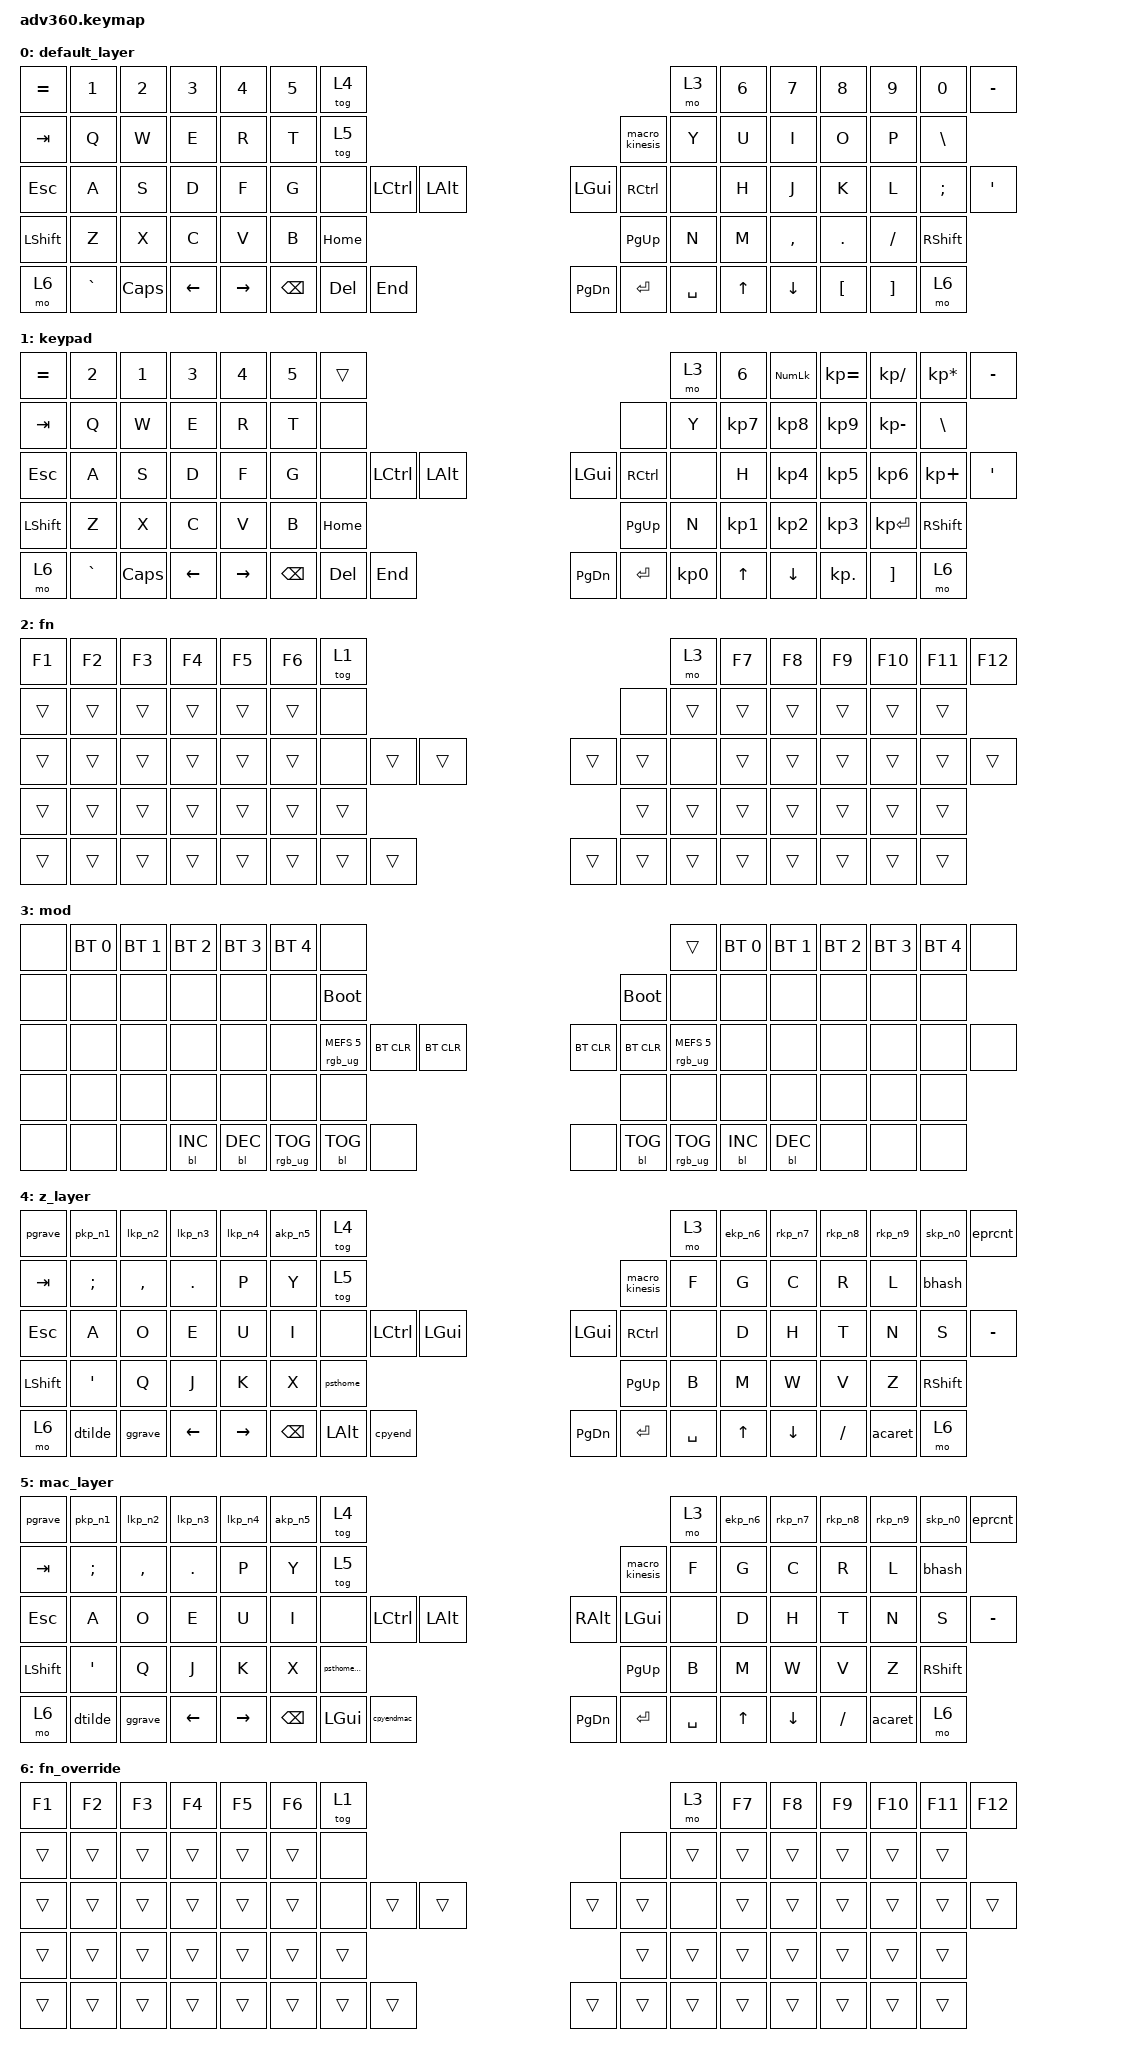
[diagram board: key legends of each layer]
#include <behaviors.dtsi>
#include <dt-bindings/zmk/keys.h>
#include <dt-bindings/zmk/bt.h>
#include <dt-bindings/zmk/rgb.h>
#include <dt-bindings/zmk/stp.h>
#include <dt-bindings/zmk/backlight.h>
#include <dt-bindings/zmk/pointing.h>
#define FN 6

/ {

    behaviors {
      #include "macros.dtsi"

      hm: homerow_mods {
          compatible = "zmk,behavior-hold-tap";
          label = "HOMEROW_MODS";
          #binding-cells = <2>;
          tapping-term-ms = <200>;
          quick_tap_ms = <175>;
          flavor = "tap-preferred";
          bindings = <&kp>, <&kp>;
      };

    gpipe: grave_pipe {
        compatible = "zmk,behavior-mod-morph";
        label = "grave_pipe";
        #binding-cells = <0>;
        bindings = <&kp GRAVE>, <&kp PIPE>;
        mods = <(MOD_LGUI|MOD_LSFT|MOD_RGUI|MOD_RSFT)>;
    };
    pgrave: pipe_grave {
        compatible = "zmk,behavior-mod-morph";
        label = "pipe_grave";
        #binding-cells = <0>;
        bindings = <&kp PIPE>, <&kp GRAVE>;
        mods = <(MOD_LGUI|MOD_LSFT|MOD_RGUI|MOD_RSFT)>;
    };
    dtilde: dllr_tilde {
        compatible = "zmk,behavior-mod-morph";
        label = "dllr_tilde";
        #binding-cells = <0>;
        bindings = <&kp DLLR>, <&kp TILDE>;
        mods = <(MOD_LGUI|MOD_LSFT|MOD_RGUI|MOD_RSFT)>;
    };
    pkp_n1: plus_n1 {
        compatible = "zmk,behavior-mod-morph";
        label = "plus_n1";
        #binding-cells = <0>;
        bindings = <&kp PLUS>, <&kp N1>;
        mods = <(MOD_LGUI|MOD_LSFT|MOD_RGUI|MOD_RSFT)>;
    };
    lkp_n2: left_bracket_n2 {
        compatible = "zmk,behavior-mod-morph";
        label = "left_bracket_n2";
        #binding-cells = <0>;
        bindings = <&kp LEFT_BRACKET>, <&kp N2>;
        mods = <(MOD_LGUI|MOD_LSFT|MOD_RGUI|MOD_RSFT)>;
    };
    lkp_n3: left_brace_n3 {
        compatible = "zmk,behavior-mod-morph";
        label = "left_brace_n3";
        #binding-cells = <0>;
        bindings = <&kp LEFT_BRACE>, <&kp N3>;
        mods = <(MOD_LGUI|MOD_LSFT|MOD_RGUI|MOD_RSFT)>;
    };
    lkp_n4: left_parenthesis_n4 {
        compatible = "zmk,behavior-mod-morph";
        label = "left_parenthesis_n4";
        #binding-cells = <0>;
        bindings = <&kp LEFT_PARENTHESIS>, <&kp N4>;
        mods = <(MOD_LGUI|MOD_LSFT|MOD_RGUI|MOD_RSFT)>;
    };
    akp_n5: amps_n5 {
        compatible = "zmk,behavior-mod-morph";
        label = "amps_n5";
        #binding-cells = <0>;
        bindings = <&kp AMPS>, <&kp N5>;
        mods = <(MOD_LGUI|MOD_LSFT|MOD_RGUI|MOD_RSFT)>;
    };
    ekp_n6: equal_n6 {
        compatible = "zmk,behavior-mod-morph";
        label = "equal_n6";
        #binding-cells = <0>;
        bindings = <&kp EQUAL>, <&kp N6>;
        mods = <(MOD_LGUI|MOD_LSFT|MOD_RGUI|MOD_RSFT)>;
    };
    rkp_n7: right_parenthesis_n7 {
        compatible = "zmk,behavior-mod-morph";
        label = "right_parenthesis_n7";
        #binding-cells = <0>;
        bindings = <&kp RIGHT_PARENTHESIS>, <&kp N7>;
        mods = <(MOD_LGUI|MOD_LSFT|MOD_RGUI|MOD_RSFT)>;
    };
    rkp_n8: right_brace_n8 {
        compatible = "zmk,behavior-mod-morph";
        label = "right_brace_n8";
        #binding-cells = <0>;
        bindings = <&kp RIGHT_BRACE>, <&kp N8>;
        mods = <(MOD_LGUI|MOD_LSFT|MOD_RGUI|MOD_RSFT)>;
    };
    rkp_n9: right_bracket_n9 {
        compatible = "zmk,behavior-mod-morph";
        label = "right_bracket_n9";
        #binding-cells = <0>;
        bindings = <&kp RIGHT_BRACKET>, <&kp N9>;
        mods = <(MOD_LGUI|MOD_LSFT|MOD_RGUI|MOD_RSFT)>;
    };
    skp_n0: star_n0 {
        compatible = "zmk,behavior-mod-morph";
        label = "star_n0";
        #binding-cells = <0>;
        bindings = <&kp STAR>, <&kp N0>;
        mods = <(MOD_LGUI|MOD_LSFT|MOD_RGUI|MOD_RSFT)>;
    };
    eprcnt: excl_prcnt {
        compatible = "zmk,behavior-mod-morph";
        label = "excl_prcnt";
        #binding-cells = <0>;
        bindings = <&kp EXCL>, <&kp PRCNT>;
        mods = <(MOD_LGUI|MOD_LSFT|MOD_RGUI|MOD_RSFT)>;
    };
    
    dgrave: dllr_grave {
        compatible = "zmk,behavior-mod-morph";
        label = "dllr_grave";
        #binding-cells = <0>;
        bindings = <&kp DLLR>, <&kp GRAVE>;
        mods = <(MOD_LGUI|MOD_LSFT|MOD_RGUI|MOD_RSFT)>;
    };
    ggrave: grave_grave {
        compatible = "zmk,behavior-mod-morph";
        label = "grave_grave";
        #binding-cells = <0>;
        bindings = <&kp GRAVE>, <&kp GRAVE>;
        mods = <(MOD_LGUI|MOD_LSFT|MOD_RGUI|MOD_RSFT)>;
    };
    bhash: bslh_hash {
        compatible = "zmk,behavior-mod-morph";
        label = "bslh_hash";
        #binding-cells = <0>;
        bindings = <&kp BSLH>, <&kp HASH>;
        mods = <(MOD_LGUI|MOD_LSFT|MOD_RGUI|MOD_RSFT)>;
    };
    acaret: at_caret {
        compatible = "zmk,behavior-mod-morph";
        label = "at_caret";
        #binding-cells = <0>;
        bindings = <&kp AT>, <&kp CARET>;
        mods = <(MOD_LGUI|MOD_LSFT|MOD_RGUI|MOD_RSFT)>;
    };
    psthome: pst_home {
        compatible = "zmk,behavior-mod-morph";
        label = "pst_home";
        #binding-cells = <0>;
        bindings = <&kp LC(V)>, <&kp HOME>;
        mods = <(MOD_LGUI|MOD_LSFT|MOD_RGUI|MOD_RSFT)>;
    };
    cpyend: cpy_end {
        compatible = "zmk,behavior-mod-morph";
        label = "cpy_end";
        #binding-cells = <0>;
        bindings = <&kp LC(C)>, <&kp END>;
        mods = <(MOD_LGUI|MOD_LSFT|MOD_RGUI|MOD_RSFT)>;
    };
    psthomemac: pst_home_mac {
        compatible = "zmk,behavior-mod-morph";
        label = "pst_home_mac";
        #binding-cells = <0>;
        bindings = <&kp LG(V)>, <&kp HOME>;
        mods = <(MOD_LGUI|MOD_LSFT|MOD_RGUI|MOD_RSFT)>;
    };
    cpyendmac: cpy_end_mac {
        compatible = "zmk,behavior-mod-morph";
        label = "cpy_end_mac";
        #binding-cells = <0>;
        bindings = <&kp LG(C)>, <&kp END>;
        mods = <(MOD_LGUI|MOD_LSFT|MOD_RGUI|MOD_RSFT)>;
    };
};

  keymap {
    compatible = "zmk,keymap";

    default_layer {
      bindings = <
        &kp EQUAL &kp N1    &kp N2   &kp N3   &kp N4     &kp N5 &tog 4                                                                       &mo 3 &kp N6 &kp N7 &kp N8    &kp N9   &kp N0   &kp MINUS
        &kp TAB   &kp Q     &kp W    &kp E    &kp R      &kp T  &tog 5                                                   &macro_kinesis &kp Y  &kp U  &kp I     &kp O    &kp P    &kp BSLH
        &kp ESC   &kp A     &kp S    &kp D    &kp F      &kp G  &none    &kp LCTRL &kp LALT                    &kp LGUI  &kp RCTRL                   &none &kp H  &kp J  &kp K     &kp L    &kp SEMI &kp SQT
        &kp LSHFT &kp Z     &kp X    &kp C    &kp V      &kp B                  &kp HOME  &kp PG_UP                                                  &kp N  &kp M  &kp COMMA &kp DOT  &kp FSLH &kp RSHFT
        &mo 6     &kp GRAVE &kp CAPS &kp LEFT &kp RIGHT               &kp BKSP  &kp DEL   &kp END              &kp PG_DN &kp ENTER &kp SPACE               &kp UP &kp DOWN  &kp LBKT &kp RBKT &mo 6
        >;
    };
    keypad {
      bindings = <
        &kp EQUAL &kp N2    &kp N1   &kp N3   &kp N4     &kp N5 &trans                                                                       &mo 3 &kp N6 &kp KP_NUM &kp KP_EQUAL &kp KP_DIVIDE &kp KP_MULTIPLY &kp MINUS
        &kp TAB   &kp Q     &kp W    &kp E    &kp R      &kp T  &none                                                                        &none &kp Y  &kp KP_N7  &kp KP_N8    &kp KP_N9     &kp KP_MINUS    &kp BSLH
        &kp ESC   &kp A     &kp S    &kp D    &kp F      &kp G  &none          &kp LCTRL &kp LALT             &kp LGUI  &kp RCTRL            &none &kp H  &kp KP_N4  &kp KP_N5    &kp KP_N6     &kp KP_PLUS     &kp SQT
        &kp LSHFT &kp Z     &kp X    &kp C    &kp V      &kp B                  &kp HOME  &kp PG_UP                                                 &kp N  &kp KP_N1  &kp KP_N2    &kp KP_N3     &kp KP_ENTER    &kp RSHFT
        &mo 6     &kp GRAVE &kp CAPS &kp LEFT &kp RIGHT               &kp BKSP &kp DEL   &kp END              &kp PG_DN &kp ENTER &kp KP_N0               &kp UP     &kp DOWN     &kp KP_DOT    &kp RBKT         &mo 6
      >;
    };
    fn {
      bindings = <
        &kp F1  &kp F2 &kp F3 &kp F4 &kp F5 &kp F6 &tog 1                                                          &mo 3 &kp F7  &kp F8 &kp F9 &kp F10 &kp F11 &kp F12
        &trans  &trans &trans &trans &trans &trans  &none                                                          &none &trans  &trans &trans &trans  &trans  &trans
        &trans  &trans &trans &trans &trans &trans  &none        &trans &trans             &trans &trans           &none &trans  &trans &trans &trans  &trans  &trans
        &trans  &trans &trans &trans &trans &trans         &trans &trans                                                  &trans &trans &trans &trans  &trans  &trans
        &trans  &trans &trans &trans &trans               &trans &trans &trans             &trans &trans &trans                  &trans &trans &trans  &trans  &trans
      >;
    };
    mod {
      bindings = <
        &none &bt BT_SEL 0 &bt BT_SEL 1 &bt BT_SEL 2 &bt BT_SEL 3 &bt BT_SEL 4 &none                                                                                                  &trans        &bt BT_SEL 0 &bt BT_SEL 1 &bt BT_SEL 2 &bt BT_SEL 3 &bt BT_SEL 4 &none
        &none &none        &none        &none        &none        &none        &bootloader                                                                                            &bootloader   &none        &none        &none        &none        &none        &none
        &none &none        &none        &none        &none        &none        &rgb_ug RGB_MEFS_CMD 5    &bt BT_CLR &bt BT_CLR             &bt BT_CLR &bt BT_CLR         &rgb_ug RGB_MEFS_CMD 5    &none        &none        &none        &none        &none        &none
        &none &none        &none        &none        &none        &none                   &none      &none                                             &none        &none        &none        &none        &none        &none
        &none &none        &none        &bl BL_INC   &bl BL_DEC                           &rgb_ug RGB_TOG &bl BL_TOG &none                 &none      &bl BL_TOG &rgb_ug RGB_TOG                      &bl BL_INC   &bl BL_DEC   &none        &none        &none
      >;
    };
    z_layer {
      bindings = <
        &pgrave   &pkp_n1     &lkp_n2   &lkp_n3  &lkp_n4    &akp_n5 &tog 4                                                                    &mo 3          &ekp_n6  &rkp_n7  &rkp_n8   &rkp_n9   &skp_n0  &eprcnt
        &kp TAB   &kp SEMI    &kp COMMA &kp DOT  &kp P      &kp Y   &tog 5                                                                    &macro_kinesis &kp F    &kp G    &kp C     &kp R     &kp L    &bhash
        &kp ESC   &kp A       &kp O     &kp E    &kp U      &kp I   &none              &kp LCTRL &kp LGUI   &kp LGUI  &kp RCTRL               &none          &kp D    &kp H    &kp T     &kp N     &kp S    &kp MINUS
        &kp LSHFT &kp APOS    &kp Q     &kp J    &kp K      &kp X                                &psthome   &kp PG_UP                                         &kp B    &kp M    &kp W     &kp V     &kp Z    &kp RSHFT
        &mo 6     &dtilde     &ggrave   &kp LEFT &kp RIGHT                   &kp BKSP  &kp LALT  &cpyend    &kp PG_DN &kp ENTER &kp SPACE                              &kp UP   &kp DOWN  &kp FSLH  &acaret  &mo 6
        >;
    };
    mac_layer {
      bindings = <
        &pgrave   &pkp_n1     &lkp_n2   &lkp_n3  &lkp_n4    &akp_n5 &tog 4                                                                    &mo 3          &ekp_n6  &rkp_n7  &rkp_n8   &rkp_n9   &skp_n0  &eprcnt
        &kp TAB   &kp SEMI    &kp COMMA &kp DOT  &kp P      &kp Y   &tog 5                                                                    &macro_kinesis &kp F    &kp G    &kp C     &kp R     &kp L    &bhash
        &kp ESC   &kp A       &kp O     &kp E    &kp U      &kp I   &none              &kp LCTRL &kp LALT      &kp RALT  &kp LGUI                &none          &kp D    &kp H    &kp T     &kp N     &kp S    &kp MINUS
        &kp LSHFT &kp APOS    &kp Q     &kp J    &kp K      &kp X                                &psthomemac   &kp PG_UP                                        &kp B    &kp M    &kp W     &kp V     &kp Z    &kp RSHFT
        &mo 6     &dtilde     &ggrave   &kp LEFT &kp RIGHT                   &kp BKSP  &kp LGUI  &cpyendmac    &kp PG_DN &kp ENTER &kp SPACE                             &kp UP   &kp DOWN  &kp FSLH  &acaret  &mo 6
        >;
    };
    fn_override {
      bindings = <
        &kp F1  &kp F2 &kp F3 &kp F4 &kp F5 &kp F6 &tog 1                                                          &mo 3 &kp F7  &kp F8 &kp F9 &kp F10 &kp F11 &kp F12
        &trans  &trans &trans &trans &trans &trans  &none                                                          &none &trans  &trans &trans &trans  &trans  &trans
        &trans  &trans &trans &trans &trans &trans  &none        &trans &trans             &trans &trans           &none &trans  &trans &trans &trans  &trans  &trans
        &trans  &trans &trans &trans &trans &trans         &trans &trans                                                  &trans &trans &trans &trans  &trans  &trans
        &trans  &trans &trans &trans &trans               &trans &trans &trans             &trans &trans &trans                  &trans &trans &trans  &trans  &trans
      >;
    };
  };
};
